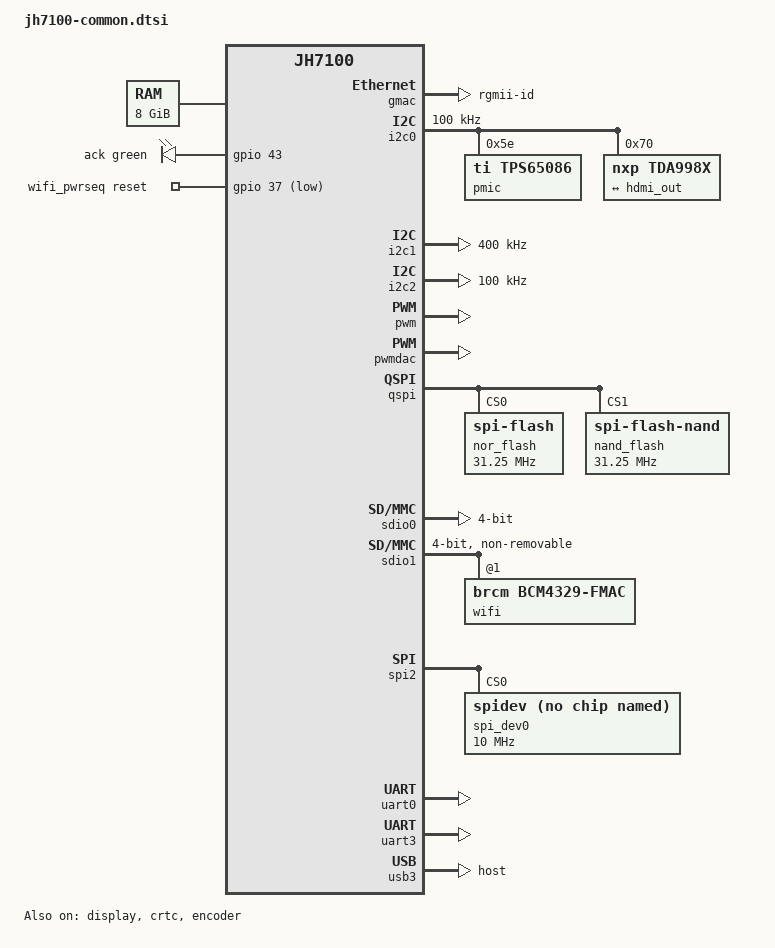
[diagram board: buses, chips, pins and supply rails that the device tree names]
// SPDX-License-Identifier: GPL-2.0 OR MIT
/*
 * Copyright (C) 2021 StarFive Technology Co., Ltd.
 * Copyright (C) 2021 Emil Renner Berthing <kernel@esmil.dk>
 */

/dts-v1/;
#include "jh7100.dtsi"
#include <dt-bindings/gpio/gpio.h>
#include <dt-bindings/leds/common.h>
#include <dt-bindings/pinctrl/pinctrl-starfive-jh7100.h>

/ {
	aliases {
		mmc0 = &sdio0;
		mmc1 = &sdio1;
		serial0 = &uart3;
		serial1 = &uart0;
	};

	chosen {
		stdout-path = "serial0:115200n8";
	};

	cpus {
		timebase-frequency = <6250000>;
	};

	memory@80000000 {
		device_type = "memory";
		reg = <0x0 0x80000000 0x2 0x0>;
	};

	leds {
		compatible = "gpio-leds";

		led-ack {
			gpios = <&gpio 43 GPIO_ACTIVE_HIGH>;
			color = <LED_COLOR_ID_GREEN>;
			function = LED_FUNCTION_HEARTBEAT;
			linux,default-trigger = "heartbeat";
			label = "ack";
		};
	};

	reserved-memory {
		#address-cells = <2>;
		#size-cells = <2>;
		ranges;

		linux,cma {
			compatible = "shared-dma-pool";
			alloc-ranges = <0x0 0xa0000000 0x0 0x28000000>;
			size = <0x0 0x28000000>;
			alignment = <0x0 0x1000>;
			reusable;
			linux,cma-default;
		};

		jpu_reserved: framebuffer@c9000000 {
			reg = <0x0 0xc9000000 0x0 0x4000000>;
		};

		nvdla_reserved: framebuffer@d0000000 {
			reg = <0x0 0xd0000000 0x0 0x28000000>;
			no-map;
		};

		vin_reserved: framebuffer@f9000000 {
			compatible = "shared-dma-pool";
			reg = <0x0 0xf9000000 0x0 0x1000000>;
			no-map;
		};

		dma-reserved@fa000000 {
			reg = <0x0 0xfa000000 0x0 0x1000000>;
			no-map;
		};

		sffb_reserved: framebuffer@fb000000 {
			compatible = "shared-dma-pool";
			reg = <0x0 0xfb000000 0x0 0x2000000>;
			no-map;
		};

		linux,dma@107a000000 {
			compatible = "shared-dma-pool";
			reg = <0x10 0x7a000000 0x0 0x1000000>;
			no-map;
			linux,dma-default;
		};
	};

	soc {
		dma-ranges = <0x00 0x80000000 0x00 0x80000000 0x00 0x7a000000>,
			     <0x00 0xfa000000 0x10 0x7a000000 0x00 0x01000000>,
			     <0x00 0xfb000000 0x00 0xfb000000 0x07 0x85000000>;
	};

	wifi_pwrseq: wifi-pwrseq {
		compatible = "mmc-pwrseq-simple";
		reset-gpios = <&gpio 37 GPIO_ACTIVE_LOW>;
	};
};

&display {
	memory-region = <&sffb_reserved>;
	status = "okay";
};

&crtc {
	ddr-format = <4>; //<WIN_FMT_RGB565>;
	status = "okay";

	port: port@0 {
		reg = <0>;

		crtc_0_out: endpoint {
			remote-endpoint = <&hdmi_input0>;
		};
	};
};

&encoder {
	encoder-type = <2>; // 2-TMDS, 3-LVDS, 6-DSI, 8-DPI
	status = "okay";

	ports {
		port@0 {
			hdmi_out: endpoint {
				remote-endpoint = <&tda998x_0_input>;
			};
		};

		port@1 {
			hdmi_input0: endpoint {
				remote-endpoint = <&crtc_0_out>;
			};
		};

	};
};

&gmac {
	pinctrl-names = "default";
	pinctrl-0 = <&gmac_pins>;
	phy-mode = "rgmii-id";
	status = "okay";

	mdio: mdio {
		#address-cells = <1>;
		#size-cells = <0>;
		compatible = "snps,dwmac-mdio";
	};
};

&gpio {
	gmac_pins: gmac-0 {
		gtxclk-pins {
			pins = <PAD_FUNC_SHARE(115)>;
			bias-pull-up;
			drive-strength = <35>;
			input-enable;
			input-schmitt-enable;
			slew-rate = <0>;
		};
		miitxclk-pins {
			pins = <PAD_FUNC_SHARE(116)>;
			bias-pull-up;
			drive-strength = <14>;
			input-enable;
			input-schmitt-disable;
			slew-rate = <0>;
		};
		tx-pins {
			pins = <PAD_FUNC_SHARE(117)>,
			       <PAD_FUNC_SHARE(119)>,
			       <PAD_FUNC_SHARE(120)>,
			       <PAD_FUNC_SHARE(121)>,
			       <PAD_FUNC_SHARE(122)>,
			       <PAD_FUNC_SHARE(123)>,
			       <PAD_FUNC_SHARE(124)>,
			       <PAD_FUNC_SHARE(125)>,
			       <PAD_FUNC_SHARE(126)>;
			bias-pull-up;
			drive-strength = <35>;
			input-disable;
			input-schmitt-disable;
			slew-rate = <0>;
		};
		rxclk-pins {
			pins = <PAD_FUNC_SHARE(127)>;
			bias-pull-up;
			drive-strength = <14>;
			input-enable;
			input-schmitt-disable;
			slew-rate = <6>;
		};
		rxer-pins {
			pins = <PAD_FUNC_SHARE(129)>;
			bias-pull-up;
			drive-strength = <14>;
			input-enable;
			input-schmitt-disable;
			slew-rate = <0>;
		};
		rx-pins {
			pins = <PAD_FUNC_SHARE(128)>,
			       <PAD_FUNC_SHARE(130)>,
			       <PAD_FUNC_SHARE(131)>,
			       <PAD_FUNC_SHARE(132)>,
			       <PAD_FUNC_SHARE(133)>,
			       <PAD_FUNC_SHARE(134)>,
			       <PAD_FUNC_SHARE(135)>,
			       <PAD_FUNC_SHARE(136)>,
			       <PAD_FUNC_SHARE(137)>,
			       <PAD_FUNC_SHARE(138)>,
			       <PAD_FUNC_SHARE(139)>,
			       <PAD_FUNC_SHARE(140)>,
			       <PAD_FUNC_SHARE(141)>;
			bias-pull-up;
			drive-strength = <14>;
			input-enable;
			input-schmitt-enable;
			slew-rate = <0>;
		};
	};

	i2c0_pins: i2c0-0 {
		i2c-pins {
			pinmux = <GPIOMUX(62, GPO_LOW,
				  GPO_I2C0_PAD_SCK_OEN,
				  GPI_I2C0_PAD_SCK_IN)>,
				 <GPIOMUX(61, GPO_LOW,
				  GPO_I2C0_PAD_SDA_OEN,
				  GPI_I2C0_PAD_SDA_IN)>;
			bias-disable; /* external pull-up */
			input-enable;
			input-schmitt-enable;
		};
	};

	i2c1_pins: i2c1-0 {
		i2c-pins {
			pinmux = <GPIOMUX(47, GPO_LOW,
				  GPO_I2C1_PAD_SCK_OEN,
				  GPI_I2C1_PAD_SCK_IN)>,
				 <GPIOMUX(48, GPO_LOW,
				  GPO_I2C1_PAD_SDA_OEN,
				  GPI_I2C1_PAD_SDA_IN)>;
			bias-pull-up;
			input-enable;
			input-schmitt-enable;
		};
	};

	i2c2_pins: i2c2-0 {
		i2c-pins {
			pinmux = <GPIOMUX(60, GPO_LOW,
				  GPO_I2C2_PAD_SCK_OEN,
				  GPI_I2C2_PAD_SCK_IN)>,
				 <GPIOMUX(59, GPO_LOW,
				  GPO_I2C2_PAD_SDA_OEN,
				  GPI_I2C2_PAD_SDA_IN)>;
			bias-disable; /* external pull-up */
			input-enable;
			input-schmitt-enable;
		};
	};

	pwmdac_pins: pwmdac-0 {
		pwmdac-pins {
			pinmux = <GPIOMUX(23, GPO_PWMDAC_LEFT_OUT,
				  GPO_ENABLE, GPI_NONE)>,
				 <GPIOMUX(24, GPO_PWMDAC_RIGHT_OUT,
				  GPO_ENABLE, GPI_NONE)>;
			bias-disable;
			drive-strength = <35>;
			input-disable;
			input-schmitt-disable;
			slew-rate = <0>;
		};
	};

	pwm_pins: pwm-0 {
		pwm-pins {
			pinmux = <GPIOMUX(7,
				  GPO_PWM_PAD_OUT_BIT0,
				  GPO_PWM_PAD_OE_N_BIT0,
				  GPI_NONE)>,
				 <GPIOMUX(5,
				  GPO_PWM_PAD_OUT_BIT1,
				  GPO_PWM_PAD_OE_N_BIT1,
				  GPI_NONE)>;
			bias-disable;
			drive-strength = <35>;
			input-disable;
			input-schmitt-disable;
			slew-rate = <0>;
		};
	};

	sdio0_pins: sdio0-0 {
		clk-pins {
			pinmux = <GPIOMUX(54, GPO_SDIO0_PAD_CCLK_OUT,
				  GPO_ENABLE, GPI_NONE)>;
			bias-disable;
			input-disable;
			input-schmitt-disable;
		};
		sdio-pins {
			pinmux = <GPIOMUX(55, GPO_LOW, GPO_DISABLE,
				  GPI_SDIO0_PAD_CARD_DETECT_N)>,
				 <GPIOMUX(53,
				  GPO_SDIO0_PAD_CCMD_OUT,
				  GPO_SDIO0_PAD_CCMD_OEN,
				  GPI_SDIO0_PAD_CCMD_IN)>,
				 <GPIOMUX(49,
				  GPO_SDIO0_PAD_CDATA_OUT_BIT0,
				  GPO_SDIO0_PAD_CDATA_OEN_BIT0,
				  GPI_SDIO0_PAD_CDATA_IN_BIT0)>,
				 <GPIOMUX(50,
				  GPO_SDIO0_PAD_CDATA_OUT_BIT1,
				  GPO_SDIO0_PAD_CDATA_OEN_BIT1,
				  GPI_SDIO0_PAD_CDATA_IN_BIT1)>,
				 <GPIOMUX(51,
				  GPO_SDIO0_PAD_CDATA_OUT_BIT2,
				  GPO_SDIO0_PAD_CDATA_OEN_BIT2,
				  GPI_SDIO0_PAD_CDATA_IN_BIT2)>,
				 <GPIOMUX(52,
				  GPO_SDIO0_PAD_CDATA_OUT_BIT3,
				  GPO_SDIO0_PAD_CDATA_OEN_BIT3,
				  GPI_SDIO0_PAD_CDATA_IN_BIT3)>;
			bias-pull-up;
			input-enable;
			input-schmitt-enable;
		};
	};

	sdio1_pins: sdio1-0 {
		clk-pins {
			pinmux = <GPIOMUX(33, GPO_SDIO1_PAD_CCLK_OUT,
				  GPO_ENABLE, GPI_NONE)>;
			bias-disable;
			input-disable;
			input-schmitt-disable;
		};
		sdio-pins {
			pinmux = <GPIOMUX(29,
				  GPO_SDIO1_PAD_CCMD_OUT,
				  GPO_SDIO1_PAD_CCMD_OEN,
				  GPI_SDIO1_PAD_CCMD_IN)>,
				 <GPIOMUX(36,
				  GPO_SDIO1_PAD_CDATA_OUT_BIT0,
				  GPO_SDIO1_PAD_CDATA_OEN_BIT0,
				  GPI_SDIO1_PAD_CDATA_IN_BIT0)>,
				 <GPIOMUX(30,
				  GPO_SDIO1_PAD_CDATA_OUT_BIT1,
				  GPO_SDIO1_PAD_CDATA_OEN_BIT1,
				  GPI_SDIO1_PAD_CDATA_IN_BIT1)>,
				 <GPIOMUX(34,
				  GPO_SDIO1_PAD_CDATA_OUT_BIT2,
				  GPO_SDIO1_PAD_CDATA_OEN_BIT2,
				  GPI_SDIO1_PAD_CDATA_IN_BIT2)>,
				 <GPIOMUX(31,
				  GPO_SDIO1_PAD_CDATA_OUT_BIT3,
				  GPO_SDIO1_PAD_CDATA_OEN_BIT3,
				  GPI_SDIO1_PAD_CDATA_IN_BIT3)>;
			bias-pull-up;
			input-enable;
			input-schmitt-enable;
		};
	};

	spi2_pins: spi2-0 {
		mosi-pins {
			pinmux = <GPIOMUX(18, GPO_SPI2_PAD_TXD,
				  GPO_ENABLE, GPI_NONE)>;
			bias-disable;
			input-disable;
			input-schmitt-disable;
		};
		miso-pins {
			pinmux = <GPIOMUX(16, GPO_LOW, GPO_DISABLE,
				  GPI_SPI2_PAD_RXD)>;
			bias-pull-up;
			input-enable;
			input-schmitt-enable;
		};
		sck-pins {
			pinmux = <GPIOMUX(12, GPO_SPI2_PAD_SCK_OUT,
				  GPO_ENABLE, GPI_NONE)>;
			bias-disable;
			input-disable;
			input-schmitt-disable;
		};
		ss-pins {
			pinmux = <GPIOMUX(15, GPO_SPI2_PAD_SS_0_N,
				  GPO_ENABLE, GPI_NONE)>,
				 <GPIOMUX(11, GPO_SPI2_PAD_SS_1_N,
				  GPO_ENABLE, GPI_NONE)>;
			bias-disable;
			input-disable;
			input-schmitt-disable;
		};
	};

	uart0_pins: uart0-0 {
		rx-pins {
			pinmux = <GPIOMUX(40, GPO_LOW, GPO_DISABLE,
				  GPI_UART0_PAD_SIN)>,
				 <GPIOMUX(39, GPO_LOW, GPO_DISABLE,
				  GPI_UART0_PAD_CTSN)>;
			bias-pull-up;
			drive-strength = <14>;
			input-enable;
			input-schmitt-enable;
		};
		tx-pins {
			pinmux = <GPIOMUX(41, GPO_UART0_PAD_SOUT,
				  GPO_ENABLE, GPI_NONE)>,
				 <GPIOMUX(42, GPO_UART0_PAD_RTSN,
				  GPO_ENABLE, GPI_NONE)>;
			bias-disable;
			drive-strength = <35>;
			input-disable;
			input-schmitt-disable;
		};
	};

	uart3_pins: uart3-0 {
		rx-pins {
			pinmux = <GPIOMUX(13, GPO_LOW, GPO_DISABLE,
				  GPI_UART3_PAD_SIN)>;
			bias-pull-up;
			drive-strength = <14>;
			input-enable;
			input-schmitt-enable;
			slew-rate = <0>;
		};
		tx-pins {
			pinmux = <GPIOMUX(14, GPO_UART3_PAD_SOUT,
				  GPO_ENABLE, GPI_NONE)>;
			bias-disable;
			drive-strength = <35>;
			input-disable;
			input-schmitt-disable;
			slew-rate = <0>;
		};
	};
};

&i2c0 {
	clock-frequency = <100000>;
	i2c-sda-hold-time-ns = <300>;
	i2c-sda-falling-time-ns = <500>;
	i2c-scl-falling-time-ns = <500>;
	pinctrl-names = "default";
	pinctrl-0 = <&i2c0_pins>;
	status = "okay";

	pmic@5e {
		compatible = "ti,tps65086";
		reg = <0x5e>;
		gpio-controller;
		#gpio-cells = <2>;

		regulators {
		};
	};

	tda998x@70 {
		compatible = "nxp,tda998x";
		reg = <0x70>;

		port {
			tda998x_0_input: endpoint {
				remote-endpoint = <&hdmi_out>;
			};
		};
	};
};

&i2c1 {
	clock-frequency = <400000>;
	i2c-sda-hold-time-ns = <300>;
	i2c-sda-falling-time-ns = <100>;
	i2c-scl-falling-time-ns = <100>;
	pinctrl-names = "default";
	pinctrl-0 = <&i2c1_pins>;
	status = "okay";
};

&i2c2 {
	clock-frequency = <100000>;
	i2c-sda-hold-time-ns = <300>;
	i2c-sda-falling-time-ns = <500>;
	i2c-scl-falling-time-ns = <500>;
	pinctrl-names = "default";
	pinctrl-0 = <&i2c2_pins>;
	status = "okay";
};

&osc_sys {
	clock-frequency = <25000000>;
};

&osc_aud {
	clock-frequency = <27000000>;
};

&pwm {
	pinctrl-names = "default";
	pinctrl-0 = <&pwm_pins>;
	status = "okay";
};

&pwmdac {
	pinctrl-names = "default";
	pinctrl-0 = <&pwmdac_pins>;
	status = "okay";
};

&qspi {
	nor_flash: nor-flash@0 {
		compatible = "spi-flash";
		reg = <0>;
		spi-max-frequency = <31250000>;
		page-size = <256>;
		block-size = <16>;
		cdns,read-delay = <4>;
		cdns,tshsl-ns = <1>;
		cdns,tsd2d-ns = <1>;
		cdns,tchsh-ns = <1>;
		cdns,tslch-ns = <1>;
		spi-tx-bus-width = <1>;
		spi-rx-bus-width = <1>;
	};

	nand_flash: nand-flash@1 {
		compatible = "spi-flash-nand";
		reg = <1>;
		spi-max-frequency = <31250000>;
		page-size = <2048>;
		block-size = <17>;
		cdns,read-delay = <4>;
		cdns,tshsl-ns = <1>;
		cdns,tsd2d-ns = <1>;
		cdns,tchsh-ns = <1>;
		cdns,tslch-ns = <1>;
		spi-tx-bus-width = <1>;
		spi-rx-bus-width = <1>;
	};
};

&sdio0 {
	broken-cd;
	bus-width = <4>;
	cap-sd-highspeed;
	pinctrl-names = "default";
	pinctrl-0 = <&sdio0_pins>;
	status = "okay";
};

&sdio1 {
	#address-cells = <1>;
	#size-cells = <0>;
	bus-width = <4>;
	cap-sd-highspeed;
	cap-sdio-irq;
	cap-power-off-card;
	mmc-pwrseq = <&wifi_pwrseq>;
	non-removable;
	pinctrl-names = "default";
	pinctrl-0 = <&sdio1_pins>;
	status = "okay";

	wifi@1 {
		compatible = "brcm,bcm4329-fmac";
		reg = <1>;
	};
};

&spi2 {
	pinctrl-names = "default";
	pinctrl-0 = <&spi2_pins>;
	status = "okay";

	spi_dev0: spi@0 {
		compatible = "rohm,dh2228fv";
		spi-max-frequency = <10000000>;
		reg = <0>;
	};
};

&uart0 {
	pinctrl-names = "default";
	pinctrl-0 = <&uart0_pins>;
	status = "okay";
};

&uart3 {
	pinctrl-names = "default";
	pinctrl-0 = <&uart3_pins>;
	status = "okay";
};

&usb3 {
	dr_mode = "host";
	status = "okay";
};
